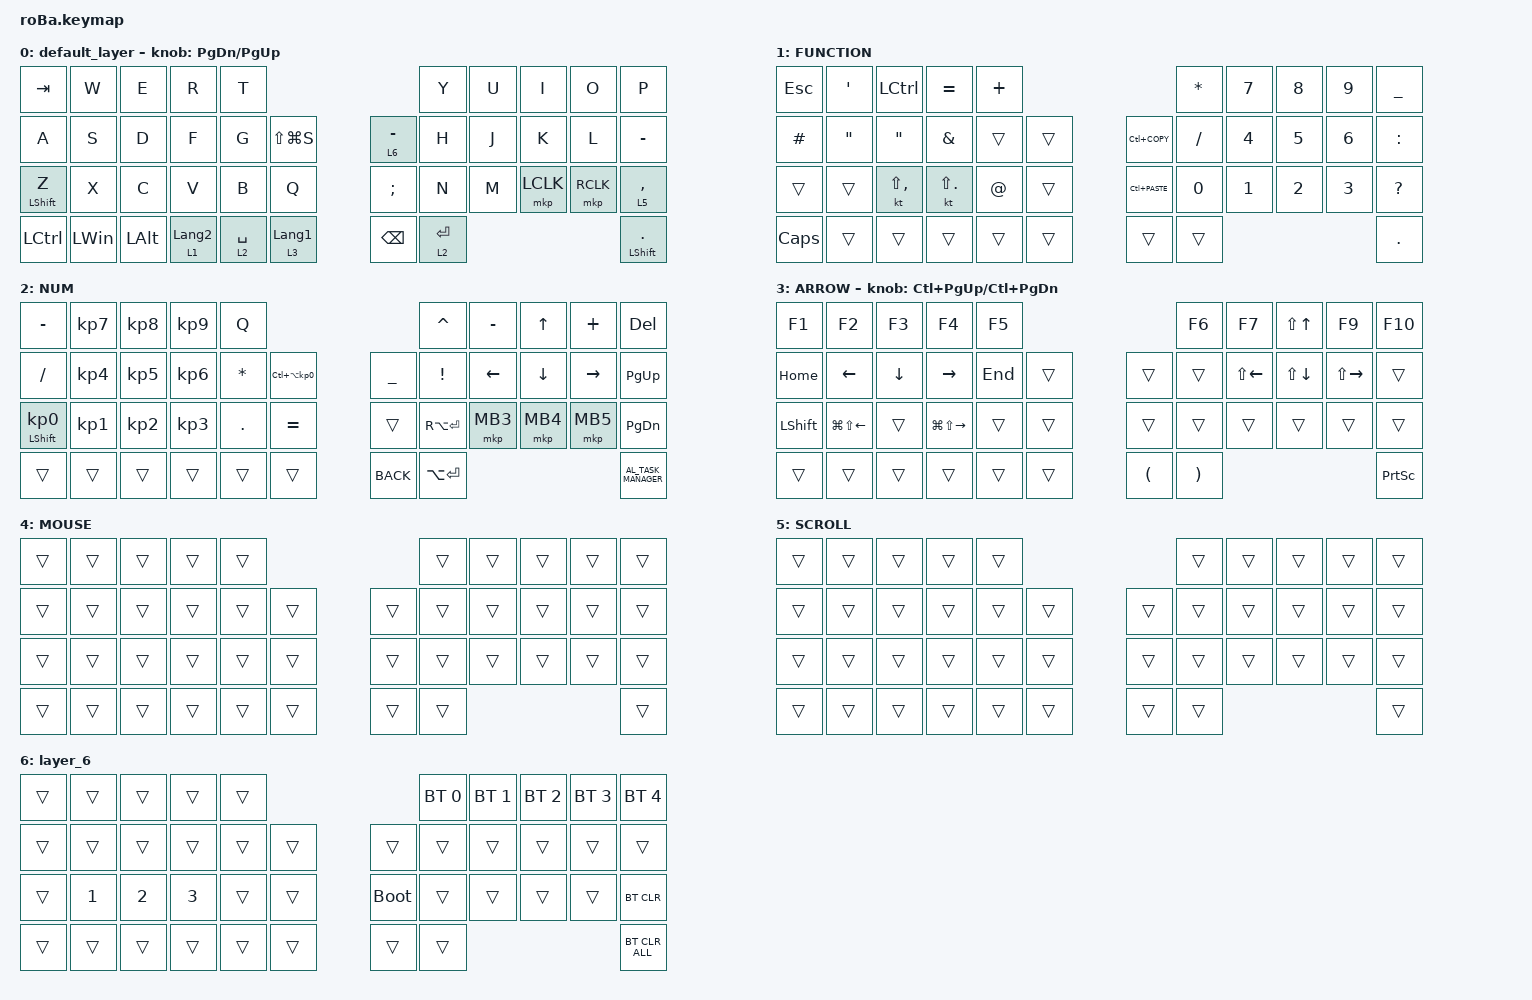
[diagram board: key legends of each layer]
#include <behaviors.dtsi>
#include <dt-bindings/zmk/bt.h>
#include <dt-bindings/zmk/keys.h>
#include <dt-bindings/zmk/pointing.h>

&mt {
    flavor = "balanced";
    quick-tap-ms = <0>;
};

&trackball {
    automouse-layer = <4>;
    scroll-layers = <5>;

    // arrows {
    //     layers = <3>;
    //     bindings =
    //         <&kp RIGHT_ARROW>,
    //         <&kp LEFT_ARROW>,
    //         <&kp UP_ARROW>,
    //         <&kp DOWN_ARROW>;
    //     tick = <10>;
    //     wait-ms = <5>;
    //     tap-ms = <5>;
    // };
};

/ {
    combos {
        compatible = "zmk,combos";

        tab {
            bindings = <&kp TAB>;
            key-positions = <11 12>;
        };

        shift_tab {
            bindings = <&kp LS(TAB)>;
            key-positions = <12 13>;
        };

        muhennkann {
            bindings = <&to_layer_0 INT_MUHENKAN>;
            key-positions = <11 10>;
        };

        double_quotation {
            bindings = <&kp DOUBLE_QUOTES>;
            key-positions = <20 21>;
        };

        eq {
            bindings = <&kp EQUAL>;
            key-positions = <24 25>;
        };
    };

    macros {
        to_layer_0: to_layer_0 {
            compatible = "zmk,behavior-macro-one-param";
            #binding-cells = <1>;
            bindings = <&to 0 &macro_param_1to1 &kp MACRO_PLACEHOLDER>;
            label = "TO_LAYER_0";
        };
    };

    behaviors {
        lt_to_layer_0: lt_to_layer_0 {
            compatible = "zmk,behavior-hold-tap";
            label = "LAYER_TAP_TO_0";
            bindings = <&mo>, <&to_layer_0>;

            #binding-cells = <2>;
            tapping-term-ms = <200>;
        };
    };

    keymap {
        compatible = "zmk,keymap";

        default_layer {
            bindings = <
&kp TAB           &kp W         &kp E         &kp R                        &kp T                                                                 &kp Y        &kp U  &kp I      &kp O      &kp P
&kp A             &kp S         &kp D         &kp F                        &kp G        &kp LS(LG(S))                    &lt_to_layer_0 6 MINUS  &kp H        &kp J  &kp K      &kp L      &kp MINUS
&mt LEFT_SHIFT Z  &kp X         &kp C         &kp V                        &kp B        &kp Q                            &kp SEMICOLON           &kp N        &kp M  &mkp LCLK  &mkp RCLK  &lt 5 COMMA
&kp LCTRL         &kp LEFT_WIN  &kp LEFT_ALT  &lt_to_layer_0 1 LANGUAGE_2  &lt 2 SPACE  &lt_to_layer_0 3 LANGUAGE_1      &kp BACKSPACE           &lt 2 ENTER                               &mt LEFT_SHIFT PERIOD
            >;

            sensor-bindings = <&inc_dec_kp PAGE_DOWN PAGE_UP>;
        };

        FUNCTION {
            bindings = <
&kp ESCAPE    &kp SQT            &kp LCTRL          &kp EQUAL       &kp PLUS                                  &kp ASTERISK  &kp N7  &kp N8  &kp N9        &kp UNDERSCORE
&kp HASH      &kp DOUBLE_QUOTES  &kp DOUBLE_QUOTES  &kp AMPERSAND   &trans       &trans      &kp LC(K_COPY)   &kp SLASH     &kp N4  &kp N5  &kp NUMBER_6  &kp COLON
&trans        &trans             &kt LS(COMMA)      &kt LS(PERIOD)  &kp AT_SIGN  &trans      &kp LC(K_PASTE)  &kp N0        &kp N1  &kp N2  &kp N3        &kp QUESTION
&kp CAPSLOCK  &trans             &trans             &trans          &trans       &trans      &trans           &trans                                      &kp PERIOD
            >;
        };

        NUM {
            bindings = <
&kp MINUS                   &kp KP_NUMBER_7  &kp KP_NUMBER_8  &kp KP_NUMBER_9  &kp Q                                                      &kp CARET        &kp MINUS       &kp UP_ARROW    &kp PLUS   &kp DEL
&kp SLASH                   &kp KP_NUMBER_4  &kp KP_NUMBER_5  &kp KP_NUMBER_6  &kp ASTERISK  &kp LC(LA(KP_NUMBER_0))      &kp UNDERSCORE  &kp EXCLAMATION  &kp LEFT_ARROW  &kp DOWN_ARROW  &kp RIGHT  &kp PAGE_UP
&mt LEFT_SHIFT KP_NUMBER_0  &kp KP_NUMBER_1  &kp KP_NUMBER_2  &kp KP_NUMBER_3  &kp PERIOD    &kp EQUAL                    &trans          &kp RA(ENTER)    &mkp MB3        &mkp MB4        &mkp MB5   &kp PAGE_DOWN
&trans                      &trans           &trans           &trans           &trans        &trans                       &kp K_BACK      &kp LA(ENTER)                                               &kp C_AL_TASK_MANAGER
            >;
        };

        ARROW {
            bindings = <
&kp F1          &kp F2                  &kp F3          &kp F4                   &kp F5                                     &kp F6                 &kp F7              &kp LS(UP_ARROW)    &kp F9               &kp F10
&kp HOME        &kp LEFT_ARROW          &kp DOWN_ARROW  &kp RIGHT_ARROW          &kp END  &trans      &trans                &trans                 &kp LS(LEFT_ARROW)  &kp LS(DOWN_ARROW)  &kp LS(RIGHT_ARROW)  &trans
&kp LEFT_SHIFT  &kp LG(LS(LEFT_ARROW))  &trans          &kp LG(LS(RIGHT_ARROW))  &trans   &trans      &trans                &trans                 &trans              &trans              &trans               &trans
&trans          &trans                  &trans          &trans                   &trans   &trans      &kp LEFT_PARENTHESIS  &kp RIGHT_PARENTHESIS                                                               &kp PRINTSCREEN
            >;

            sensor-bindings = <&inc_dec_kp LC(PAGE_UP) LC(PAGE_DOWN)>;
        };

        MOUSE {
            bindings = <
&trans  &trans  &trans  &trans  &trans                      &trans  &trans  &trans  &trans  &trans
&trans  &trans  &trans  &trans  &trans  &trans      &trans  &trans  &trans  &trans  &trans  &trans
&trans  &trans  &trans  &trans  &trans  &trans      &trans  &trans  &trans  &trans  &trans  &trans
&trans  &trans  &trans  &trans  &trans  &trans      &trans  &trans                          &trans
            >;
        };

        SCROLL {
            bindings = <
&trans  &trans  &trans  &trans  &trans                      &trans  &trans  &trans  &trans  &trans
&trans  &trans  &trans  &trans  &trans  &trans      &trans  &trans  &trans  &trans  &trans  &trans
&trans  &trans  &trans  &trans  &trans  &trans      &trans  &trans  &trans  &trans  &trans  &trans
&trans  &trans  &trans  &trans  &trans  &trans      &trans  &trans                          &trans
            >;
        };

        layer_6 {
            bindings = <
&trans  &trans        &trans        &trans        &trans                           &bt BT_SEL 0  &bt BT_SEL 1  &bt BT_SEL 2  &bt BT_SEL 3  &bt BT_SEL 4
&trans  &trans        &trans        &trans        &trans  &trans      &trans       &trans        &trans        &trans        &trans        &trans
&trans  &kp NUMBER_1  &kp NUMBER_2  &kp NUMBER_3  &trans  &trans      &bootloader  &trans        &trans        &trans        &trans        &bt BT_CLR
&trans  &trans        &trans        &trans        &trans  &trans      &trans       &trans                                                  &bt BT_CLR_ALL
            >;
        };
    };
};
